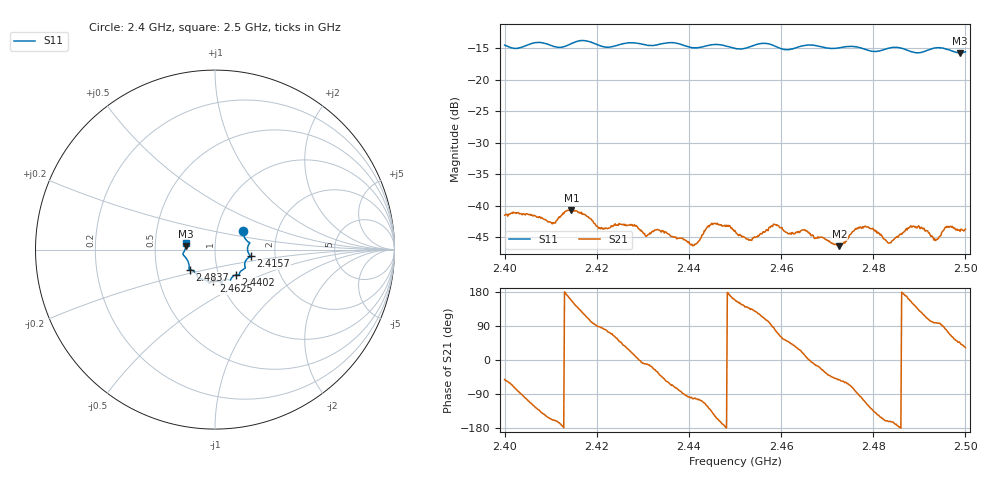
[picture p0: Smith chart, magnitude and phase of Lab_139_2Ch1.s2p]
# Hz S RI R 50
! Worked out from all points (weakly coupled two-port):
!   601 points, 2.4 GHz to 2.5 GHz, reference 50 ohm
!   highest |S21| = -40.69 dB at 2.4145 GHz (marker M1); lowest = -46.4 dB at 2.4727 GHz (marker M2)
!   lowest |S11| = -15.7 dB at 2.4988 GHz (marker M3), VSWR 1.39, Z = 36 + j1.33 ohm
!   |S11| at or under -10 dB: start of sweep to end of sweep
!   S12 and S22 are empty: the file has one direction only
!   S11 on the Smith chart (normalised r, x): 2.4 GHz: 1.33, +0.29; 2.4157 GHz: 1.49, -0.11; 2.4402 GHz: 1.20, -0.35; 2.4625 GHz: 0.92, -0.34; 2.4837 GHz: 0.74, -0.17; 2.5 GHz: 0.72, +0.05
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2.4e9  0.1564 0.1057  0.00527 -0.00659  0 0  0 0
2.4105e9  0.1839 0.02  -0.00686 -0.00267  0 0  0 0
2.4145e9  0.192 -0.0286  -0.00849 0.00366  0 0  0 0
2.415667e9  0.1987 -0.0365  -0.00705 0.00575  0 0  0 0
2.416667e9  0.2014 -0.0398  -0.00555 0.00696  0 0  0 0
2.421e9  0.1774 -0.0536  0.000587 0.00669  0 0  0 0
2.433333e9  0.1361 -0.1336  0.00532 -0.00366  0 0  0 0
2.440167e9  0.1144 -0.1412  -0.000742 -0.00493  0 0  0 0
2.445333e9  0.0855 -0.1703  -0.00573 -0.00436  0 0  0 0
2.45e9  0.0636 -0.166  -0.00591 0.00235  0 0  0 0
2.453167e9  0.039 -0.1787  -0.00388 0.0037  0 0  0 0
2.458833e9  0.0302 -0.1817  0.00158 0.0069  0 0  0 0
2.4625e9  -0.00962 -0.176  0.00469 0.00394  0 0  0 0
2.466667e9  -0.0328 -0.1861  0.00578 -0.000548  0 0  0 0
2.472667e9  -0.0741 -0.1637  0.00293 -0.00378  0 0  0 0
2.478167e9  -0.0998 -0.1438  -0.00228 -0.0065  0 0  0 0
2.483333e9  -0.1384 -0.1126  -0.00482 -0.00151  0 0  0 0
2.483667e9  -0.1404 -0.1121  -0.00484 -0.0016  0 0  0 0
2.4885e9  -0.1452 -0.0815  -0.00584 0.00351  0 0  0 0
2.4935e9  -0.1773 -0.028  -0.000812 0.00524  0 0  0 0
2.498833e9  -0.1628 0.018  0.00442 0.00445  0 0  0 0
2.5e9  -0.1628 0.0365  0.00548 0.00355  0 0  0 0
